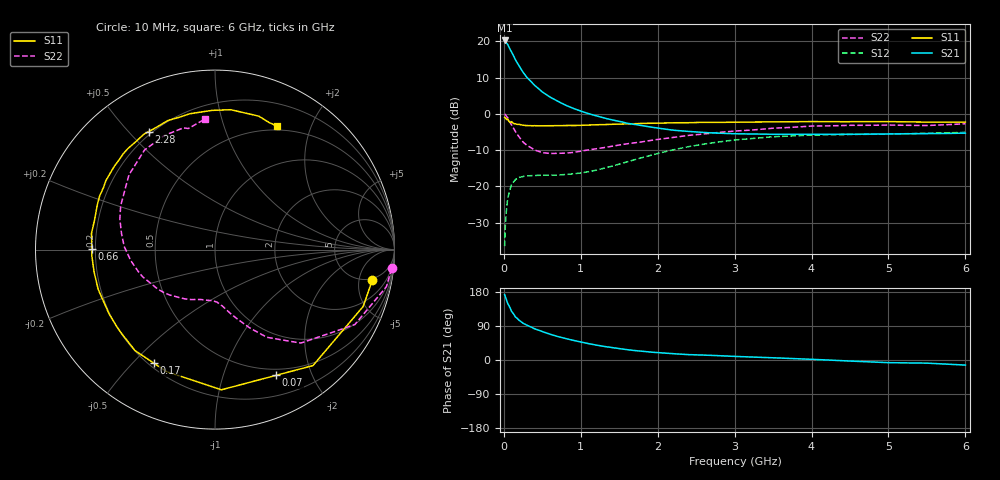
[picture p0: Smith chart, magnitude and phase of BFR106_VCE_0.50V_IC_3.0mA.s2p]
! Infineon Technologies  Discrete & RF Semiconductors
! BFR106
! VCE = 0.50 V,  IC =  3.0 mA
! Common Emitter S-Parameters:  Nov 2015
# GHz  S  MA  R  50
!  f  S11  S21  S12  S22
! GHz  MAG  ANG  MAG  ANG  MAG  ANG  MAG  ANG
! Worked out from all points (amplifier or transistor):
!   210 points, 10 MHz to 6 GHz, reference 50 ohm
!   highest |S21| = 20.2 dB at 10 MHz (marker M1)
!   |S21| within 3 dB of that: start of sweep to 96.89 MHz
!   unconditionally stable (mu >= 1): 663.7 MHz to end of sweep
!   at 185 MHz: K = 0.31, MSG = 15.7 dB, |S12| = -17.7 dB
!   at 1.52 GHz: K = 1.27, MAG = 2.7 dB, |S12| = -13.7 dB
!   at 6 GHz: K = 1.03, MAG = -1.1 dB, |S12| = -5.1 dB
!   S11 on the Smith chart (normalised r, x): 10 MHz: 4.70, -7.78; 70 MHz: 0.43, -1.52; 170 MHz: 0.22, -0.58; 660 MHz: 0.19, +0.00; 2.28 GHz: 0.19, +0.57; 6 GHz: 0.46, +1.53
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0.01  0.8932 -10.8  10.28 172.8  0.015 85.9  0.9896 -6.1
0.02  0.8842 -21.0  10.08 167.2  0.0298 78.5  0.977 -12.2
0.05  0.8459 -49.8  9.058 149.2  0.0679 63.2  0.8841 -28.2
0.07  0.7791 -64.0  8.19 142.0  0.0825 54.2  0.8031 -34.9
0.1  0.782 -87.4  7.196 128.4  0.1069 45.7  0.7073 -47.4
0.15  0.7314 -111.7  5.563 113.8  0.1245 34.9  0.5677 -59.4
0.17  0.7185 -118.3  5.133 110.5  0.1278 32.4  0.5301 -61.8
0.2  0.7176 -128.4  4.527 104.4  0.1332 29.0  0.4759 -66.2
0.24  0.7 -137.6  3.89 98.6  0.1363 25.9  0.4208 -70.7
0.3  0.6903 -148.7  3.183 91.4  0.1396 23.3  0.3692 -76.1
0.4  0.6875 -161.1  2.47 82.3  0.1419 21.1  0.3179 -82.4
0.5  0.6852 -169.5  2.006 74.8  0.1426 21.0  0.2923 -87.9
0.66  0.6867 179.5  1.574 64.6  0.1431 23.2  0.285 -96.8
0.8  0.6941 172.5  1.319 56.8  0.1458 26.3  0.2877 -104.5
1.02  0.6962 162.1  1.074 46.6  0.1542 32.9  0.3084 -115.6
1.4  0.7193 147.6  0.828 33.0  0.1888 42.6  0.3581 -135.1
2.02  0.7448 127.0  0.633 19.1  0.2877 44.6  0.4473 -165.0
2.28  0.7543 119.3  0.586 15.7  0.3327 41.6  0.4854 -176.6
3.1  0.7694 98.6  0.53 8.8  0.4454 27.2  0.5869 151.6
4.1  0.7825 82.3  0.523 1.0  0.5117 10.1  0.6807 123.0
5.1  0.7795 70.9  0.529 -7.3  0.5292 -2.4  0.6987 104.2
6  0.7696 63.1  0.543 -13.4  0.5555 -11.1  0.7301 94.3
